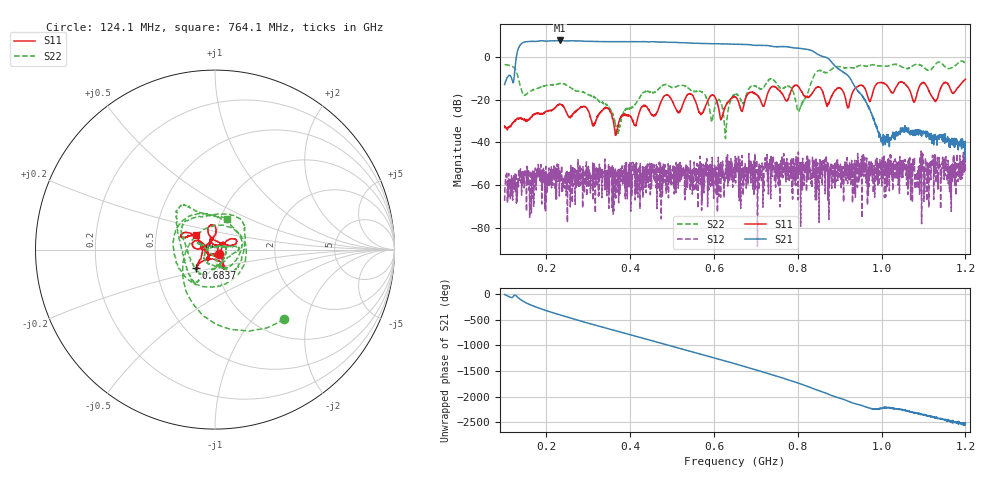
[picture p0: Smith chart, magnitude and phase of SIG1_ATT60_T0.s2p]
# Hz S DB R 50
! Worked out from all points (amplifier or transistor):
!   1601 points, 100 MHz to 1.2 GHz, reference 50 ohm
!   highest |S21| = 7.8 dB at 232 MHz (marker M1)
!   |S21| within 3 dB of that: 134.4 MHz to 774.2 MHz (639.7 MHz wide, 141 % of centre) (the widest 1 of 3)
!   unconditionally stable (mu >= 1): start of sweep to end of sweep
!   at 282.9 MHz: K = 113.05, MAG = 7.7 dB, |S12| = -54.9 dB
!   at 650 MHz: K = 154.09, MAG = 6.2 dB, |S12| = -56.1 dB
!   at 1.2 GHz: K = 27913.59, MAG = -45.1 dB, |S12| = -53.2 dB
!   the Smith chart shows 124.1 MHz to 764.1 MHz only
!   S11 on the Smith chart (normalised r, x): 124.1 MHz: 1.04, -0.06; 683.7 MHz: 0.80, -0.17; 764.1 MHz: 0.80, +0.14
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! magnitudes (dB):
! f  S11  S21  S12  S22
! 100 MHz  -32.3  -12.8  -67.4  -3.6
! 124.1 MHz  -29.6  -6.9  -61.1  -5.2
! 147.4 MHz  -28.9  7.1  -57.2  -17.8
! 232 MHz  -22.1  7.8  -53.1  -12.4
! 283.6 MHz  -23.5  7.5  -59.3  -16.1
! 370.2 MHz  -32.4  7.2  -52.9  -36.2
! 467.1 MHz  -24.3  7.1  -62.0  -15.0
! 542.8 MHz  -17.2  6.6  -62.6  -15.3
! 570.2 MHz  -26.7  6.4  -71.8  -16.3
! 594.3 MHz  -17.8  6.3  -55.5  -29.7
! 611.5 MHz  -24.5  6.3  -65.2  -19.7
! 627.3 MHz  -23.1  6.2  -52.2  -38.2
! 650 MHz  -18.7  6.0  -56.1  -17.3
! 683.7 MHz  -16.7  5.9  -54.2  -14.6
! 764.1 MHz  -17.4  4.9  -56.6  -14.7
! 802.6 MHz  -14.0  4.2  -51.1  -25.2
! 833.6 MHz  -17.3  3.0  -57.2  -11.0
! 920.9 MHz  -23.7  -9.0  -54.3  -4.9
! 945.6 MHz  -13.4  -16.4  -58.8  -4.1
! 1.017 GHz  -14.6  -40.0  -56.5  -4.1
! 1.129 GHz  -20.9  -37.8  -54.2  -3.3
! 1.2 GHz  -10.4  -48.5  -53.2  -3.0
